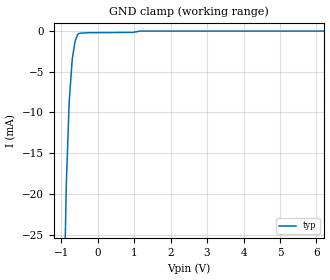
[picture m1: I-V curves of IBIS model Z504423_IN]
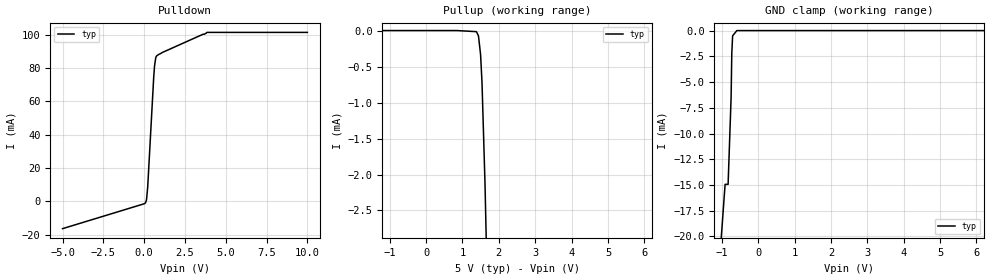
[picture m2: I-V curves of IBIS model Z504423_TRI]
| YOU ARE ONLY AUTHORIZED TO USE THIS SOFTWARE
| ACCORDING TO LICENSOR'S LICENSE RESTRICTIONS.
[IBIS Ver] 3.1
[File Name] sn54ls251j.ibs
[File Rev] 2.0
[Source] Measured and created by ICX Technology
[Date] Friday 7/14/00 9:08:14 AM
[Copyright]
| (C) COPYRIGHT 1993-2000
| MENTOR GRAPHICS CORPORATION
| ICX STANDARD LIBRARY, ICX PROJECT MODELING,
| ICX CUSTOM MODELING, ICX VENDOR MODEL
| ALL RIGHTS RESERVED.
| THE FOLLOWING ARE TRADEMARKS OR SERVICE MARKS OF
| MENTOR GRAPHICS CORPORATION:ICX (R), ICX STANDARD
| LIBRARY(R), ICX PROJECT MODELING(R), ICX CUSTOM
| MODELING(R), qualityIBIS(TM), MODELVIEWER(TM),
| AND MODELEDITOR(TM)
| ALL COPIES OF SOFTWARE, INCLUDING BUT NOT LIMITED TO
| ANY MODIFICATIONS, ENHANCEMENTS OR DERIVATIVE WORKS,
| MUST CONTAIN ALL MENTOR GRAPHICS CORPORATION'S
| NOTICES AND LEGENDS, INCLUDING THOSE EMBEDDED IN
| SOFTWARE AND THOSE AFFIXED TO SOFTWARE MEDIUM
| AND CONTAINER, AS RECEIVED FROM MENTOR GRAPHICS
| CORPORATION.
|  ZAP Model Builder 2.7
[Component] SN54LS251J
[Manufacturer] OnSemiconductor
[Package]
| variable   typ   min   max
R_pkg  .212ohms NA NA
L_pkg  4.758nH NA NA
C_pkg  1.944pF NA NA
[Pin] signal_name  model_name  R_pin  L_pin C_pin
1 D3 Z504423_IN .224 7.258n 2.683p
2 D2 Z504423_IN .216 5.258n 2.19p
3 D1 Z504423_IN .208 3.758n 1.697p
4 D0 Z504423_IN .2 2.758n 1.204p
5 Y Z504423_TRI .2 2.758n 1.204p
6 _Y Z504423_TRI .208 3.758n 1.697p
7 _G Z504423_IN .216 5.258n 2.19p
8 GND GND .224 7.258n 2.683p
9 C Z504423_IN .224 7.258n 2.683p
10 B Z504423_IN .216 5.258n 2.19p
11 A Z504423_IN .208 3.758n 1.697p
12 D7 Z504423_IN .2 2.758n 1.204p
13 D6 Z504423_IN .2 2.758n 1.204p
14 D5 Z504423_IN .208 3.758n 1.697p
15 D4 Z504423_IN .216 5.258n 2.19p
16 VCC POWER .224 7.258n 2.683p
| Models and submodels in the file (2): Z504423_IN (Input), Z504423_TRI (3-state)
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| (C) COPYRIGHT 1993-2000
| MENTOR GRAPHICS CORPORATION
| ICX STANDARD LIBRARY, ICX PROJECT MODELING,
| ICX CUSTOM MODELING, ICX VENDOR MODEL
| ALL RIGHTS RESERVED.
| THE FOLLOWING ARE TRADEMARKS OR SERVICE MARKS OF
| MENTOR GRAPHICS CORPORATION:ICX (R), ICX STANDARD
| LIBRARY(R), ICX PROJECT MODELING(R), ICX CUSTOM
| MODELING(R), qualityIBIS(TM), MODELVIEWER(TM),
| AND MODELEDITOR(TM)
| ALL COPIES OF SOFTWARE, INCLUDING BUT NOT LIMITED TO
| ANY MODIFICATIONS, ENHANCEMENTS OR DERIVATIVE WORKS,
| MUST CONTAIN ALL MENTOR GRAPHICS CORPORATION'S
| NOTICES AND LEGENDS, INCLUDING THOSE EMBEDDED IN
| SOFTWARE AND THOSE AFFIXED TO SOFTWARE MEDIUM
| AND CONTAINER, AS RECEIVED FROM MENTOR GRAPHICS
| CORPORATION.
| Model Application Version 1.89 2/18/99.
[Model] Z504423_IN
Model_type Input
Vinl = 800.0mV
Vinh = 2.000V
C_comp 4.000pF NA NA
| variable typ   min   max
[Voltage Range] 5.000V NA NA
[GND Clamp Reference] 0.000V NA NA
[POWER Clamp Reference] 5.000V NA NA
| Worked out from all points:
|   GND clamp passes 1 mA (typ) near -0.60 V on its own axis
[GND Clamp]
-5V       -966.1mA   NA         NA
-857.2mV  -18.8mA    NA         NA
-778.7mV  -8.673mA   NA         NA
-693.9mV  -3.431mA   NA         NA
-615.2mV  -1.213mA   NA         NA
-546.7mV  -419.2uA   NA         NA
-502.9mV  -274.1uA   NA         NA
-251.5mV  -207.3uA   NA         NA
971mV     -164.4uA   NA         NA
1.168V    -6.662uA   NA         NA
10V       -6.662uA   NA         NA
[POWER Clamp]
-5V       0A         NA         NA
10V       0A         NA         NA
| (C) COPYRIGHT 1993-2000
| MENTOR GRAPHICS CORPORATION
| ICX STANDARD LIBRARY, ICX PROJECT MODELING,
| ICX CUSTOM MODELING, ICX VENDOR MODEL
| ALL RIGHTS RESERVED.
| THE FOLLOWING ARE TRADEMARKS OR SERVICE MARKS OF
| MENTOR GRAPHICS CORPORATION:ICX (R), ICX STANDARD
| LIBRARY(R), ICX PROJECT MODELING(R), ICX CUSTOM
| MODELING(R), qualityIBIS(TM), MODELVIEWER(TM),
| AND MODELEDITOR(TM)
| ALL COPIES OF SOFTWARE, INCLUDING BUT NOT LIMITED TO
| ANY MODIFICATIONS, ENHANCEMENTS OR DERIVATIVE WORKS,
| MUST CONTAIN ALL MENTOR GRAPHICS CORPORATION'S
| NOTICES AND LEGENDS, INCLUDING THOSE EMBEDDED IN
| SOFTWARE AND THOSE AFFIXED TO SOFTWARE MEDIUM
| AND CONTAINER, AS RECEIVED FROM MENTOR GRAPHICS
| CORPORATION.
| Model Application Version 1.89 2/18/99.
[Model] Z504423_TRI
Model_type 3-state
Vref=588.0mV
Rref=588.5ohms
Cref=45.00pF
Vmeas=1.300V
C_comp 8.000pF NA NA
| variable typ   min   max
[Voltage Range] 5.000V NA NA
[POWER Clamp Reference] 5.000V NA NA
[Pullup Reference] 5.000V NA NA
[Pulldown Reference] 0.000V NA NA
[GND Clamp Reference] 0.000V NA NA
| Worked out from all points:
|   slope of the pulldown table from 0 to 0.75 V, typ, clamps not added: 8.48 ohm
|   GND clamp passes 1 mA (typ) near -0.71 V on its own axis
[GND Clamp]
-5V       -521.2mA   NA         NA
-1.166V   -33.74mA   NA         NA
-1.038V   -21.34mA   NA         NA
-907.2mV  -14.94mA   NA         NA
-824.7mV  -14.94mA   NA         NA
-742.2mV  -6.52mA    NA         NA
-723.5mV  -2.236mA   NA         NA
-700.4mV  -512.1uA   NA         NA
-583.7mV  0A         NA         NA
10V       0A         NA         NA
[Pulldown]
-5V       -16.4mA    NA         NA
29.49mV   -1.398mA   NA         NA
87.89mV   -795.1uA   NA         NA
151.2mV   1.387mA    NA         NA
219.7mV   8.59mA     NA         NA
586.1mV   74.27mA    NA         NA
637.3mV   81.14mA    NA         NA
713mV     86.15mA    NA         NA
791mV     87.41mA    NA         NA
1.113V    89.24mA    NA         NA
3.848V    101.3mA    NA         NA
10V       101.3mA    NA         NA
[Pullup]
-5V       13.31uA    NA         NA
845mV     13.31uA    NA         NA
1.384V    -2.135uA   NA         NA
1.441V    -61.15uA   NA         NA
1.499V    -324.2uA   NA         NA
1.538V    -712.9uA   NA         NA
1.621V    -2.141mA   NA         NA
10V       -194.5mA   NA         NA
[POWER Clamp]
-5V       0A         NA         NA
10V       0A         NA         NA
[Ramp]
| variable typ min max
dV/dt_r 1.851/7.659n NA NA
dV/dt_f 1.851/3.702n NA NA
R_load = 500.0Ohms
